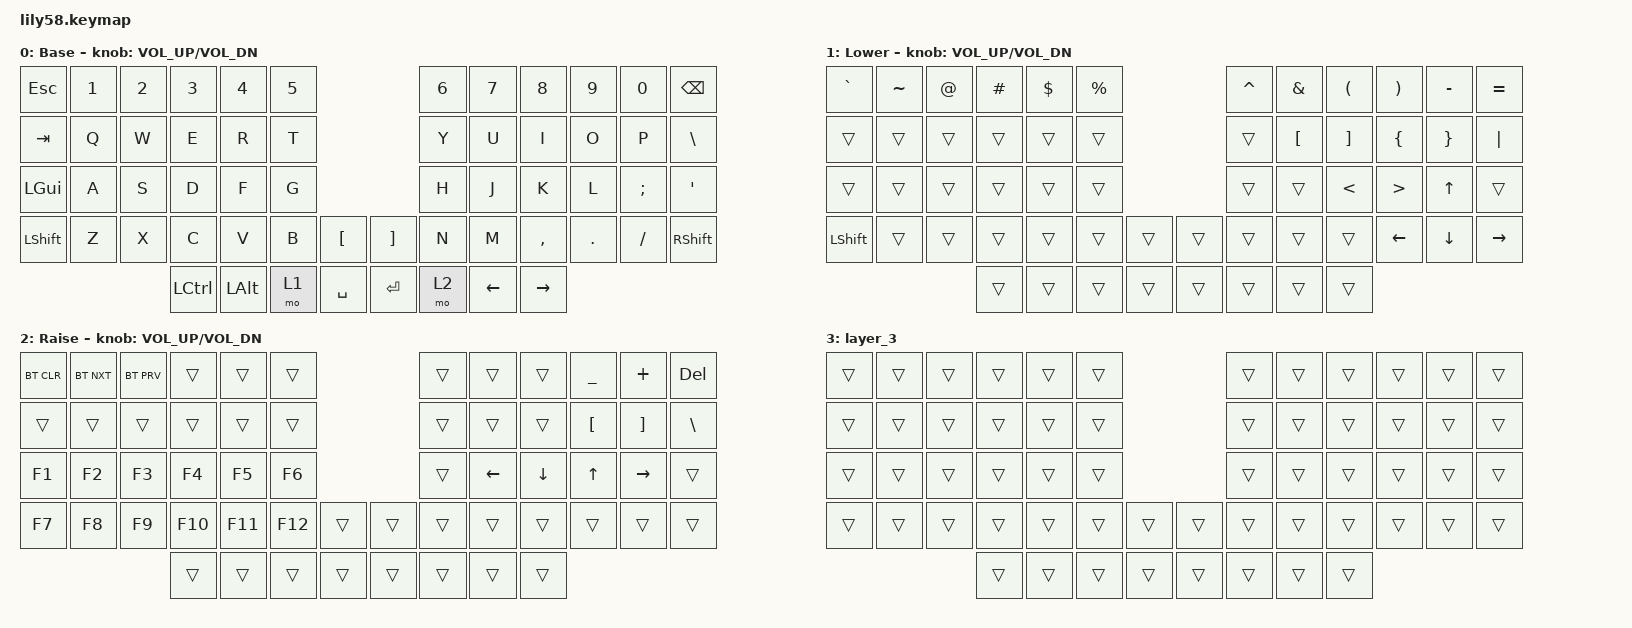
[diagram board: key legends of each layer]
/*
 * Copyright (c) 2020 The ZMK Contributors
 *
 * SPDX-License-Identifier: MIT
 */

#include <behaviors.dtsi>
#include <dt-bindings/zmk/bt.h>
#include <dt-bindings/zmk/keys.h>

/ {
    keymap {
        compatible = "zmk,keymap";

        default_layer {
            // ------------------------------------------------------------------------------------------------------------
            // |  ESC  |  1  |  2  |  3   |  4   |  5   |                   |  6   |  7    |  8    |  9   |   0   |   `   |
            // |  TAB  |  Q  |  W  |  E   |  R   |  T   |                   |  Y   |  U    |  I    |  O   |   P   |   -   |
            // |  CTRL |  A  |  S  |  D   |  F   |  G   |                   |  H   |  J    |  K    |  L   |   ;   |   '   |
            // | SHIFT |  Z  |  X  |  C   |  V   |  B   |   "["  |  |  "]"  |  N   |  M    |  ,    |  .   |   /   | SHIFT |
            //                     | ALT  | GUI  | LOWER|  SPACE |  | ENTER | RAISE| BSPC  | GUI   |

            display-name = "Base";
            bindings = <
&kp ESC       &kp N1  &kp N2  &kp N3            &kp N4        &kp N5                         &kp N6  &kp N7    &kp N8     &kp N9   &kp N0    &kp BACKSPACE
&kp TAB       &kp Q   &kp W   &kp E             &kp R         &kp T                          &kp Y   &kp U     &kp I      &kp O    &kp P     &kp BACKSLASH
&kp LEFT_GUI  &kp A   &kp S   &kp D             &kp F         &kp G                          &kp H   &kp J     &kp K      &kp L    &kp SEMI  &kp SQT
&kp LSHFT     &kp Z   &kp X   &kp C             &kp V         &kp B   &kp LBKT     &kp RBKT  &kp N   &kp M     &kp COMMA  &kp DOT  &kp FSLH  &kp RSHFT
                              &kp LEFT_CONTROL  &kp LEFT_ALT  &mo 1   &kp SPACE    &kp RET   &mo 2   &kp LEFT  &kp RIGHT
            >;

            sensor-bindings = <&inc_dec_kp C_VOL_UP C_VOL_DN>;
        };

        lower_layer {
            // ------------------------------------------------------------------------------------------------------------
            // | BTCLR | BT1 | BT2 |  BT3 |  BT4 |  BT5 |                   |      |       |       |      |       |       |
            // |  F1   |  F2 |  F3 |  F4  |  F5  |  F6  |                   |  F7  |  F8   |  F9   |  F10 |  F11  |  F12  |
            // |   `   |  !  |  @  |  #   |  $   |  %   |                   |  ^   |  &    |  *    |  (   |   )   |   ~   |
            // |       |     |     |      |      |      |        |  |       |      |  _    |  +    |  {   |   }   |  "|"  |
            //                     |      |      |      |        |  |       |      |       |       |

            display-name = "Lower";
            bindings = <
&kp GRAVE   &kp TILDE  &kp AT_SIGN  &kp HASH  &kp DOLLAR  &kp PERCENT                    &kp CARET  &kp AMPERSAND     &kp LEFT_PARENTHESIS  &kp RIGHT_PARENTHESIS  &kp MINUS        &kp EQUAL
&trans      &trans     &trans       &trans    &trans      &trans                         &trans     &kp LEFT_BRACKET  &kp RIGHT_BRACKET     &kp LEFT_BRACE         &kp RIGHT_BRACE  &kp PIPE
&trans      &trans     &trans       &trans    &trans      &trans                         &trans     &trans            &kp LESS_THAN         &kp GREATER_THAN       &kp UP_ARROW     &trans
&kp LSHIFT  &trans     &trans       &trans    &trans      &trans       &trans    &trans  &trans     &trans            &trans                &kp LEFT               &kp DOWN_ARROW   &kp RIGHT
                                    &trans    &trans      &trans       &trans    &trans  &trans     &trans            &trans
            >;

            sensor-bindings = <&inc_dec_kp C_VOL_UP C_VOL_DN>;
        };

        raise_layer {
            // ------------------------------------------------------------------------------------------------------------
            // |       |     |     |      |      |      |                   |      |       |       |      |       |       |
            // |   `   |  1  |  2  |  3   |  4   |  5   |                   |  6   |   7   |   8   |  9   |   0   |       |
            // |   F1  |  F2 |  F3 |  F4  |  F5  |  F6  |                   |      |   <-  |   v   |  ^   |  ->   |       |
            // |   F7  |  F8 |  F9 |  F10 |  F11 |  F12 |        |  |       |  +   |   -   |   =   |  [   |   ]   |   \   |
            //                     |      |      |      |        |  |       |      |       |       |

            display-name = "Raise";
            bindings = <
&bt BT_CLR  &bt BT_NXT  &bt BT_PRV  &trans   &trans   &trans                     &trans  &trans    &trans    &kp UNDERSCORE    &kp PLUS           &kp DELETE
&trans      &trans      &trans      &trans   &trans   &trans                     &trans  &trans    &trans    &kp LEFT_BRACKET  &kp RIGHT_BRACKET  &kp BACKSLASH
&kp F1      &kp F2      &kp F3      &kp F4   &kp F5   &kp F6                     &trans  &kp LEFT  &kp DOWN  &kp UP            &kp RIGHT          &trans
&kp F7      &kp F8      &kp F9      &kp F10  &kp F11  &kp F12  &trans    &trans  &trans  &trans    &trans    &trans            &trans             &trans
                                    &trans   &trans   &trans   &trans    &trans  &trans  &trans    &trans
            >;

            sensor-bindings = <&inc_dec_kp C_VOL_UP C_VOL_DN>;
        };

        layer_3 {
            bindings = <
&trans  &trans  &trans  &trans  &trans  &trans                    &trans  &trans  &trans  &trans  &trans  &trans
&trans  &trans  &trans  &trans  &trans  &trans                    &trans  &trans  &trans  &trans  &trans  &trans
&trans  &trans  &trans  &trans  &trans  &trans                    &trans  &trans  &trans  &trans  &trans  &trans
&trans  &trans  &trans  &trans  &trans  &trans  &trans    &trans  &trans  &trans  &trans  &trans  &trans  &trans
                        &trans  &trans  &trans  &trans    &trans  &trans  &trans  &trans
            >;
        };
    };
};
